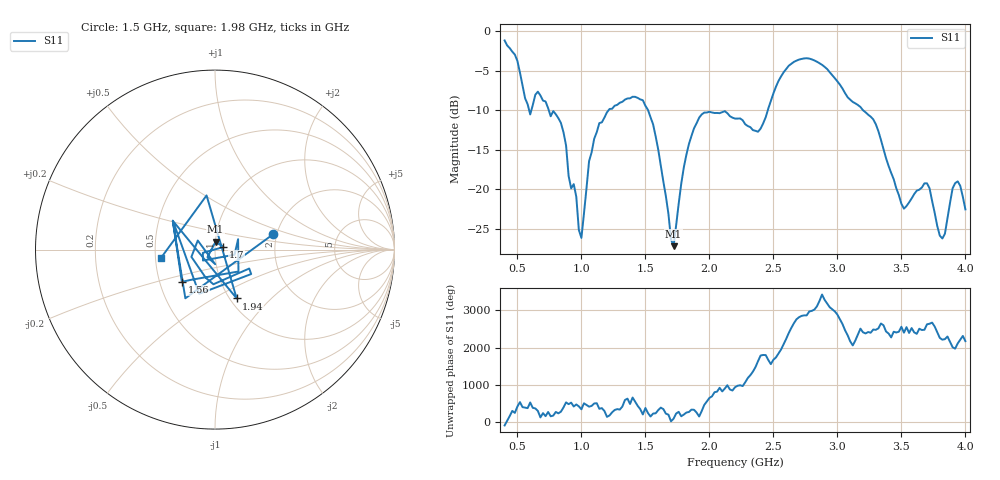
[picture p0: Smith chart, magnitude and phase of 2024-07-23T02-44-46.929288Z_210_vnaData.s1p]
!Created with skrf (http://scikit-rf.org).
# Hz S RI R 50.0
!freq ReS11 ImS11
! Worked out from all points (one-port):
!   181 points, 400 MHz to 4 GHz, reference 50 ohm
!   lowest |S11| = -27.2 dB at 1.72 GHz (marker M1), VSWR 1.09, Z = 50.1 + j4.4 ohm
!   |S11| at or under -10 dB: 745 MHz to 1.212 GHz (467.4 MHz wide, 47.8 % of centre); 1.521 GHz to 2.456 GHz (935.4 MHz wide, 47 % of centre); 3.2 GHz to end of sweep (the widest 3 of 4)
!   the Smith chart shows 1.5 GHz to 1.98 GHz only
!   S11 on the Smith chart (normalised r, x): 1.5 GHz: 1.92, +0.38; 1.56 GHz: 0.65, -0.25; 1.7 GHz: 1.10, +0.03; 1.94 GHz: 1.08, -0.64; 1.98 GHz: 0.53, -0.06
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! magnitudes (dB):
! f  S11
! 400 MHz  -1.2
! 500 MHz  -3.8
! 600 MHz  -10.5
! 660 MHz  -7.7
! 860 MHz  -12.8
! 1 GHz  -26.1
! 1.06 GHz  -16.4
! 1.1 GHz  -13.6
! 1.3 GHz  -9.1
! 1.5 GHz  -9.4
! 1.56 GHz  -11.8
! 1.7 GHz  -26.3
! 1.72 GHz  -27.2
! 1.76 GHz  -21.8
! 1.84 GHz  -14.3
! 1.94 GHz  -10.5
! 1.98 GHz  -10.3
! 2.2 GHz  -11.1
! 2.38 GHz  -12.7
! 2.66 GHz  -3.9
! 3.1 GHz  -8.7
! 3.28 GHz  -11.2
! 3.5 GHz  -21.8
! 3.56 GHz  -21.6
! 3.7 GHz  -19.2
! 3.82 GHz  -26.2
! 3.92 GHz  -19.2
! 4 GHz  -22.5
